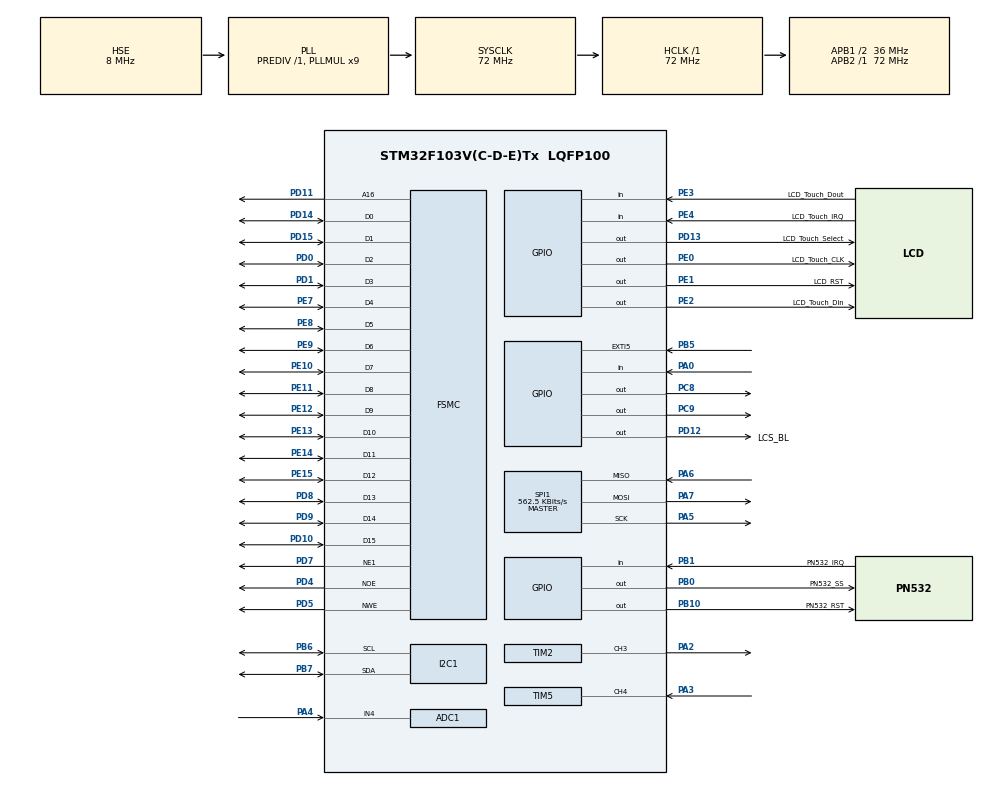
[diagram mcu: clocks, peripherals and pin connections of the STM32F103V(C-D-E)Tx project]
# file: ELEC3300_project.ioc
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ADC1.Channel-1\#ChannelRegularConversion=ADC_CHANNEL_4
ADC1.ContinuousConvMode=ENABLE
ADC1.NbrOfConversionFlag=1
ADC1.Rank-1\#ChannelRegularConversion=1
ADC1.SamplingTime-1\#ChannelRegularConversion=ADC_SAMPLETIME_1CYCLE_5
ADC1.master=1
I2C1.I2C_Mode=I2C_Fast
Mcu.Family=STM32F1
Mcu.Name=STM32F103V(C-D-E)Tx
Mcu.Package=LQFP100
NVIC.EXTI9_5_IRQn=true\:0\:0\:false\:false\:true\:true\:true\:true
NVIC.PriorityGroup=NVIC_PRIORITYGROUP_4
NVIC.SPI1_IRQn=true\:0\:0\:false\:false\:true\:true\:true\:true
NVIC.TIM2_IRQn=true\:0\:0\:false\:false\:true\:true\:true\:true
NVIC.TIM5_IRQn=true\:0\:0\:false\:false\:true\:true\:true\:true
OSC_IN.Mode=HSE-External-Oscillator
OSC_IN.Signal=RCC_OSC_IN
OSC_OUT.Mode=HSE-External-Oscillator
OSC_OUT.Signal=RCC_OSC_OUT
PA0-WKUP.GPIO_PuPd=GPIO_PULLUP
PA0-WKUP.Signal=GPIO_Input
PA13.Mode=Serial_Wire
PA13.Signal=SYS_JTMS-SWDIO
PA14.Mode=Serial_Wire
PA14.Signal=SYS_JTCK-SWCLK
PA2.Signal=S_TIM2_CH3
PA3.Signal=S_TIM5_CH4
PA4.Signal=ADCx_IN4
PA5.Mode=Full_Duplex_Master
PA5.Signal=SPI1_SCK
PA6.Mode=Full_Duplex_Master
PA6.Signal=SPI1_MISO
PA7.Mode=Full_Duplex_Master
PA7.Signal=SPI1_MOSI
PB0.GPIO_Label=PN532_SS
PB0.GPIO_PuPd=GPIO_PULLUP
PB0.GPIO_Speed=GPIO_SPEED_FREQ_LOW
PB0.Signal=GPIO_Output
PB1.GPIO_Label=PN532_IRQ
PB1.Signal=GPIO_Input
PB10.GPIO_Label=PN532_RST
PB10.GPIO_PuPd=GPIO_PULLUP
PB10.GPIO_Speed=GPIO_SPEED_FREQ_LOW
PB10.PinState=GPIO_PIN_SET
PB10.Signal=GPIO_Output
PB5.GPIO_ModeDefaultEXTI=GPIO_MODE_IT_FALLING
PB5.Signal=GPXTI5
PB6.Mode=I2C
PB6.Signal=I2C1_SCL
PB7.Mode=I2C
PB7.Signal=I2C1_SDA
PC14-OSC32_IN.Mode=LSE-External-Oscillator
PC14-OSC32_IN.Signal=RCC_OSC32_IN
PC15-OSC32_OUT.Mode=LSE-External-Oscillator
PC15-OSC32_OUT.Signal=RCC_OSC32_OUT
PC8.GPIO_PuPd=GPIO_PULLUP
PC8.GPIO_Speed=GPIO_SPEED_FREQ_HIGH
PC8.PinState=GPIO_PIN_SET
PC8.Signal=GPIO_Output
PC9.GPIO_PuPd=GPIO_PULLUP
PC9.GPIO_Speed=GPIO_SPEED_FREQ_HIGH
PC9.PinState=GPIO_PIN_SET
PC9.Signal=GPIO_Output
PD0.Mode=16b-d1
PD0.Signal=FSMC_D2
PD1.Mode=16b-d1
PD1.Signal=FSMC_D3
PD10.Mode=16b-d1
PD10.Signal=FSMC_D15
PD11.Mode=A16_1
PD11.Signal=FSMC_A16
PD12.GPIO_Label=LCS_BL
PD12.GPIO_Speed=GPIO_SPEED_FREQ_HIGH
PD12.Signal=GPIO_Output
PD13.GPIO_Label=LCD_Touch_Select
PD13.GPIO_Speed=GPIO_SPEED_FREQ_HIGH
PD13.PinState=GPIO_PIN_RESET
PD13.Signal=GPIO_Output
PD14.Mode=16b-d1
PD14.Signal=FSMC_D0
PD15.Mode=16b-d1
PD15.Signal=FSMC_D1
PD4.Mode=Lcd1
PD4.Signal=FSMC_NOE
PD5.Mode=Lcd1
PD5.Signal=FSMC_NWE
PD7.Mode=NorPsramChipSelect1_1
PD7.Signal=FSMC_NE1
PD8.Mode=16b-d1
PD8.Signal=FSMC_D13
PD9.Mode=16b-d1
PD9.Signal=FSMC_D14
PE0.GPIO_Label=LCD_Touch_CLK
PE0.GPIO_Speed=GPIO_SPEED_FREQ_HIGH
PE0.PinState=GPIO_PIN_SET
PE0.Signal=GPIO_Output
PE1.GPIO_Label=LCD_RST
PE1.GPIO_Speed=GPIO_SPEED_FREQ_HIGH
PE1.PinState=GPIO_PIN_RESET
PE1.Signal=GPIO_Output
PE10.Mode=16b-d1
PE10.Signal=FSMC_D7
PE11.Mode=16b-d1
PE11.Signal=FSMC_D8
PE12.Mode=16b-d1
PE12.Signal=FSMC_D9
PE13.Mode=16b-d1
PE13.Signal=FSMC_D10
PE14.Mode=16b-d1
PE14.Signal=FSMC_D11
PE15.Mode=16b-d1
PE15.Signal=FSMC_D12
PE2.GPIO_Label=LCD_Touch_Din
PE2.GPIO_Speed=GPIO_SPEED_FREQ_HIGH
PE2.Signal=GPIO_Output
PE3.GPIO_Label=LCD_Touch_Dout
PE3.GPIO_PuPd=GPIO_PULLUP
PE3.Signal=GPIO_Input
PE4.GPIO_Label=LCD_Touch_IRQ
PE4.GPIO_PuPd=GPIO_PULLUP
PE4.Signal=GPIO_Input
PE7.Mode=16b-d1
PE7.Signal=FSMC_D4
PE8.Mode=16b-d1
PE8.Signal=FSMC_D5
PE9.Mode=16b-d1
PE9.Signal=FSMC_D6
ProjectManager.HeapSize=0x200
ProjectManager.StackSize=0x400
ProjectManager.TargetToolchain=STM32CubeIDE
RCC.ADCPresc=RCC_ADCPCLK2_DIV6
RCC.AHBFreq_Value=72000000
RCC.APB1CLKDivider=RCC_HCLK_DIV2
RCC.APB1Freq_Value=36000000
RCC.APB1TimFreq_Value=72000000
RCC.APB2Freq_Value=72000000
RCC.APB2TimFreq_Value=72000000
RCC.HCLKFreq_Value=72000000
RCC.PLLMUL=RCC_PLL_MUL9
RCC.PLLSourceVirtual=RCC_PLLSOURCE_HSE
RCC.SYSCLKFreq_VALUE=72000000
RCC.SYSCLKSource=RCC_SYSCLKSOURCE_PLLCLK
RCC.USBFreq_Value=72000000
SH.ADCx_IN4.0=ADC1_IN4,IN4
SH.S_TIM2_CH3.0=TIM2_CH3,PWM Generation3 CH3
SH.S_TIM5_CH4.0=TIM5_CH4,Input_Capture4_from_TI4
SPI1.BaudRatePrescaler=SPI_BAUDRATEPRESCALER_128
SPI1.CalculateBaudRate=562.5 KBits/s
SPI1.Direction=SPI_DIRECTION_2LINES
SPI1.FirstBit=SPI_FIRSTBIT_LSB
SPI1.Mode=SPI_MODE_MASTER
SPI1.VirtualType=VM_MASTER
TIM1.Prescaler=71
TIM2.Channel-PWM\ Generation3\ CH3=TIM_CHANNEL_3
TIM2.Period=1895
TIM2.Pulse-PWM\ Generation3\ CH3=947
TIM5.Channel-Input_Capture4_from_TI4=TIM_CHANNEL_4
TIM5.Prescaler=71
VP_TIM1_VS_ClockSourceINT.Mode=Internal
board=custom

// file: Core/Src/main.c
/* USER CODE BEGIN Header */
/**
  ******************************************************************************
  * @file           : main.c
  * @brief          : Main program body
  ******************************************************************************
  * @attention
  *
  * Copyright (c) 2023 STMicroelectronics.
  * All rights reserved.
  *
  * This software is licensed under terms that can be found in the LICENSE file
  * in the root directory of this software component.
  * If no LICENSE file comes with this software, it is provided AS-IS.
  *
  ******************************************************************************
  */
/*
 * pin setup
 * light resistor
 * IR receiver PA3
 * IR transmitter PA2
 * LED PC8 PC9
 * */

/* USER CODE END Header */
#include "main.h"

/* USER CODE BEGIN Includes */
#include "lcd.h"
#include "bsp_xpt2046_lcd.h"
#include "pn532_stm32f1.h"
#include <string.h>
#include <stdio.h>
/* USER CODE END Includes */

/* USER CODE BEGIN PD */
#define use_HEXADECIMAL
/* USER CODE END PD */

ADC_HandleTypeDef hadc1;

I2C_HandleTypeDef hi2c1;

SPI_HandleTypeDef hspi1;

TIM_HandleTypeDef htim1;
TIM_HandleTypeDef htim2;
TIM_HandleTypeDef htim5;

SRAM_HandleTypeDef hsram1;

/* USER CODE BEGIN PV */

char receiveCode[10];
uint32_t send_Code = 0;
uint32_t receive_Code = 0;
uint8_t receive[33] = {0};
uint8_t receive_Flag = 0;
uint32_t pwm_low_level_time;
uint32_t pwm_high_level_time;
uint8_t button1 = 0;
uint8_t button2 = 0;
uint8_t light_dark_mode = 0;
int tim_mode_raise_or_falling = 0;
int Index = 0;
int ok = 0,ok2=0;
int datawp[35] = {0};
int x, y;
char strx[5];
char stry[5];
uint8_t buff[255];
uint8_t uid[MIFARE_UID_MAX_LENGTH];
int32_t uid_len = 0;
PN532 pn532;
uint8_t key_a[] = {0xFF, 0xFF, 0xFF, 0xFF, 0xFF, 0xFF};
uint32_t pn532_error = PN532_ERROR_NONE;
uint8_t power = 0;
uint8_t open = 0;
uint8_t user = 0;
uint8_t user_change = 0;

//uncomment this block to flash code for device
#define DEVICE 1
#define REMOTE 0

//uncomment this block to flash code for remote
//#define DEVICE 0
//#define REMOTE 1

//display mode
#define LIGHT 0
#define DARK 1

//buttons
#define BUTTON1 0x01
#define BUTTON2 0x02
#define BUTTON3 0x03
#define BUTTON4 0x04
#define POWER 0x69
#define ADDRESS 0x11

//user
#define NOUSER 0
#define JONATHAN 1
#define CHRIS 2

#define DLY_TIM_Handle (&htim1)//定时器延时微妙级函数
void HAL_Delay_us(uint16_t nus)
{
	__HAL_TIM_SET_COUNTER(DLY_TIM_Handle, 0);
	__HAL_TIM_ENABLE(DLY_TIM_Handle);
	while (__HAL_TIM_GET_COUNTER(DLY_TIM_Handle) < nus)
	{
	}
	__HAL_TIM_DISABLE(DLY_TIM_Handle);
}
/* USER CODE END PV */

void SystemClock_Config(void);
static void MX_GPIO_Init(void);
static void MX_FSMC_Init(void);
static void MX_I2C1_Init(void);
static void MX_TIM1_Init(void);
static void MX_TIM2_Init(void);
static void MX_SPI1_Init(void);
static void MX_TIM5_Init(void);
static void MX_ADC1_Init(void);

/* USER CODE BEGIN 0 */

// IR sender function
void IR_send(uint8_t addr, uint8_t data)
{
	uint8_t iaddr = ~addr;

	uint8_t idata = ~data;
	char sendCode[10];
	send_Code = addr<<24 | iaddr<<16 | data<<8 | idata;

	HAL_TIM_PWM_Start(&htim2,TIM_CHANNEL_3);
	HAL_Delay_us(9000);
	HAL_TIM_PWM_Stop(&htim2,TIM_CHANNEL_3);
	HAL_Delay_us(4500);
	for(int i=31;i>=0;i--){
		HAL_TIM_PWM_Start(&htim2,TIM_CHANNEL_3);
		HAL_Delay_us(560);
		HAL_TIM_PWM_Stop(&htim2,TIM_CHANNEL_3);
		if((send_Code>>i) & 0x01)
			HAL_Delay_us(1690);
		else
			HAL_Delay_us(560);
	}
	HAL_TIM_PWM_Start(&htim2,TIM_CHANNEL_3);
	HAL_Delay_us(560);
	HAL_TIM_PWM_Stop(&htim2,TIM_CHANNEL_3);
}

//print remote screen function
void PrintRemote()
{
	LCD_OpenWindow(40, 20, 160, 60);
	LCD_FillColor(160*60, RED);
	LCD_DrawString(100, 30, "Power", WHITE, RED);

	LCD_OpenWindow(10, 100, 100, 100);
	LCD_FillColor(100*100, BLACK);
	LCD_DrawString(30, 150, "button1", WHITE, BLACK);

	LCD_OpenWindow(130, 100, 100, 100);
	LCD_FillColor(100*100, BLACK);
	LCD_DrawString(152, 150, "button2", WHITE, BLACK);

	LCD_OpenWindow(10, 210, 100, 100);
	LCD_FillColor(100*100, BLACK);
	LCD_DrawString(30, 260, "button3", WHITE, BLACK);

	LCD_OpenWindow(130, 210, 100, 100);
	LCD_FillColor(100*100, BLACK);
	LCD_DrawString(152, 260, "button4", WHITE, BLACK);
}

// print light mode device menu function
void PrintDevice_light(uint8_t user, uint8_t button1, uint8_t button2)
{
	LCD_Clear(0,0,240,320,WHITE);
	LCD_DrawString(75, 0, "Device Mode", BLACK, WHITE);

	if(user == JONATHAN)
	{
		LCD_DrawString(50, 20, "Welcome! Jonathan!", BLACK, WHITE);
	}
	else if(user == CHRIS)
	{
		LCD_DrawString(60, 20, "Welcome! Chris!", BLACK, WHITE);
	}
	else
	{
		LCD_DrawString(60, 20, "Device Locked", BLACK, WHITE);
	}

	if(button1)
	{
		LCD_DrawString(50, 45, "ON", BLACK, WHITE);
		LCD_OpenWindow(15, 60, 100, 250);
		LCD_FillColor(100*250, GREEN);
	}
	else
	{
		LCD_DrawString(50, 45, "OFF", BLACK, WHITE);
		LCD_OpenWindow(15, 60, 100, 250);
		LCD_FillColor(100*250, RED);
	}
	if(button2)
	{
		LCD_DrawString(165, 45, "ON", BLACK, WHITE);
		LCD_OpenWindow(125, 60, 100, 250);
		LCD_FillColor(100*250, GREEN);
	}
	else
	{
		LCD_DrawString(165, 45, "OFF", BLACK, WHITE);
		LCD_OpenWindow(125, 60, 100, 250);
		LCD_FillColor(100*250, RED);
	}
}

//print dark mode device menu function
void PrintDevice_dark(uint8_t user, uint8_t button1, uint8_t button2)
{
	LCD_Clear(0,0,240,320,BLACK);
	LCD_DrawString(75, 0, "Device Mode", WHITE, BLACK);

	if(user == JONATHAN)
	{
		LCD_DrawString(50, 20, "Welcome! Jonathan!", WHITE, BLACK);
	}
	else if(user == CHRIS)
	{
		LCD_DrawString(60, 20, "Welcome! Chris!", WHITE, BLACK);
	}
	else
	{
		LCD_DrawString(60, 20, "Device Locked", WHITE, BLACK);
	}

	if(button1)
	{
		LCD_DrawString(50, 45, "ON", WHITE, BLACK);
		LCD_OpenWindow(15, 60, 100, 250);
		LCD_FillColor(100*250, GREEN);
	}
	else
	{
		LCD_DrawString(50, 45, "OFF", WHITE, BLACK);
		LCD_OpenWindow(15, 60, 100, 250);
		LCD_FillColor(100*250, RED);
	}
	if(button2)
	{
		LCD_DrawString(165, 45, "ON", WHITE, BLACK);
		LCD_OpenWindow(125, 60, 100, 250);
		LCD_FillColor(100*250, GREEN);
	}
	else
	{
		LCD_DrawString(165, 45, "OFF", WHITE, BLACK);
		LCD_OpenWindow(125, 60, 100, 250);
		LCD_FillColor(100*250, RED);
	}
}

//IR receiver data decryption
void Find_Data(uint32_t *code)
{
	*code = *code & 0x0000ff00;
	*code = *code >> 8;
}

//toggle device button one display function
void Update_Button1()
{
	if(button1)
	{
		Button1_Off();
	}
	else
	{
		Button1_On();
	}
}

//toggle device button two display function
void Update_Button2()
{
	if(button2)
	{
		Button2_Off();
	}
	else
	{
		Button2_On();
	}
}

//turn on button one function
void Button1_On()
{
	button1 = 1;
	LCD_Clear(50, 45, 25, 15, WHITE);
	if(light_dark_mode == DARK)
		LCD_DrawString(50, 45, "ON  ", WHITE, BLACK);
	else
		LCD_DrawString(50, 45, "ON  ", BLACK, WHITE);
	LCD_OpenWindow(15, 60, 100, 250);
	LCD_FillColor(100*250, GREEN);
	HAL_GPIO_WritePin(GPIOC, GPIO_PIN_8, GPIO_PIN_SET);
}

//turn on button two function
void Button2_On()
{
	button2 = 1;
	LCD_Clear(165, 45,25, 15, WHITE);
	if(light_dark_mode == DARK)
		LCD_DrawString(165, 45, "ON  ", WHITE, BLACK);
	else
		LCD_DrawString(165, 45, "ON  ", BLACK, WHITE);
	LCD_OpenWindow(125, 60, 100, 250);
	LCD_FillColor(100*250, GREEN);
	HAL_GPIO_WritePin(GPIOC, GPIO_PIN_9, GPIO_PIN_SET);
}

//turn off button one function
void Button1_Off()
{
	button1 = 0;
	LCD_Clear(50, 45, 25, 15, WHITE);
	if(light_dark_mode == DARK)
		LCD_DrawString(50, 45, "OFF ", WHITE, BLACK);
	else
		LCD_DrawString(50, 45, "OFF ", BLACK, WHITE);
	LCD_OpenWindow(15, 60, 100, 250);
	LCD_FillColor(100*250, RED);
	HAL_GPIO_WritePin(GPIOC, GPIO_PIN_8, GPIO_PIN_RESET);
}

//turn off button two function
void Button2_Off()
{
	button2 = 0;
	LCD_Clear(165, 45,25, 15, WHITE);
	if(light_dark_mode == DARK)
		LCD_DrawString(165, 45, "OFF ", WHITE, BLACK);
	else
		LCD_DrawString(165, 45, "OFF ", BLACK, WHITE);
	LCD_OpenWindow(125, 60, 100, 250);
	LCD_FillColor(100*250, RED);
	HAL_GPIO_WritePin(GPIOC, GPIO_PIN_9, GPIO_PIN_RESET);
}
/* USER CODE END 0 */

int main(void)
{

  /* MCU Configuration--------------------------------------------------------*/

  /* Reset of all peripherals, Initializes the Flash interface and the Systick. */
  HAL_Init();

  /* Configure the system clock */
  SystemClock_Config();

  /* Initialize all configured peripherals */
  MX_GPIO_Init();
  MX_FSMC_Init();
  MX_I2C1_Init();
  MX_TIM1_Init();
  MX_TIM2_Init();
  MX_SPI1_Init();
  MX_TIM5_Init();
  MX_ADC1_Init();
  /* USER CODE BEGIN 2 */
  LCD_INIT();
  HAL_TIM_Base_Start(&htim1);
  HAL_TIM_Base_Start(&htim2);
  HAL_TIM_Base_Start(&htim5);
  __HAL_TIM_SET_COUNTER(&htim1, 0);
  GPIO_PinState prevButtonState = GPIO_PIN_RESET;
  HAL_TIM_IC_Start_IT(&htim5, TIM_CHANNEL_4);
  HAL_GPIO_WritePin(GPIOC, GPIO_PIN_8, GPIO_PIN_RESET);
  HAL_GPIO_WritePin(GPIOC, GPIO_PIN_9, GPIO_PIN_RESET);
  PN532_SPI_Init(&pn532);
  PN532_SamConfiguration(&pn532);
  HAL_ADC_Start(&hadc1);
  TIM_SET_CAPTUREPOLARITY(&htim5,TIM_CHANNEL_4,TIM_ICPOLARITY_FALLING);
  TIM2->ARR = 1893;
  TIM2->CCR2 = TIM2->ARR/2;
  char stage[10] = "menu";
  if(DEVICE)
	  PrintDevice_light(0,0,0);
  else
	  PrintRemote();
  /* USER CODE END 2 */

  /* Infinite loop */
  while (1)
  {

    /* USER CODE BEGIN 3 */

	  	//light sensor

	  if(REMOTE)
	  {
			XPT2046_TouchEvenHandler(&stage, &x, &y);
			if((x>40&&x<185)&&(y>40&&y<85))
			{
				IR_send(ADDRESS, POWER);
			}
			if((x>10&&x<105)&&(y>115&&y<200))
			{
				IR_send(ADDRESS, BUTTON1);
			}
			if((x>125&&x<230)&&(y>115&&y<200))
			{
				IR_send(ADDRESS, BUTTON2);
			}
			if((x>10&&x<105)&&(y>215&&y<300))
			{
				IR_send(ADDRESS, BUTTON3);
			}
			if((x>125&&x<230)&&(y>215&&y<300))
			{
				IR_send(ADDRESS, BUTTON4);
			}
			x=0;y=0;
	  }

	  if(DEVICE)
	  {
		  if(HAL_ADC_PollForConversion(&hadc1, 1000) == HAL_OK)
		  {
			  int ADCValue1 = HAL_ADC_GetValue(&hadc1);
			  if(ADCValue1 < 3750)
			  {
				  if(!open)
					  PrintDevice_light(user, button1, button2);
				  open = 1;
				  light_dark_mode = LIGHT;
			  }
			  else
			  {
				  if(open)
					  PrintDevice_dark(user, button1, button2);
				  open = 0;
				  light_dark_mode = DARK;
			  }
		  }
		  if(user_change == 1)
		  {
			  if(light_dark_mode == LIGHT)
				  LCD_Clear(50, 20, 160, 20, WHITE);
			  else
				  LCD_Clear(50, 20, 160, 20, BLACK);
			  if(user == CHRIS)
			  {
				  if(light_dark_mode == LIGHT)
					  LCD_DrawString(60, 20, "Welcome! Chris!", BLACK, WHITE);
				  else
					  LCD_DrawString(60, 20, "Welcome! Chris!", WHITE, BLACK);
			  }
			  else if(user == JONATHAN)
			  {
				  if(light_dark_mode == LIGHT)
					  LCD_DrawString(60, 20, "Welcome! Jonathan!", BLACK, WHITE);
				  else
					  LCD_DrawString(60, 20, "Welcome! Jonathan!", WHITE, BLACK);
			  }
			  else if(user == NOUSER)
			  {
				  if(light_dark_mode == LIGHT)
					  LCD_DrawString(60, 20, "Device locked", BLACK, WHITE);
				  else
					  LCD_DrawString(60, 20, "Device locked", WHITE, BLACK);
			  }
			  user_change = 0;
		  }
		  if(user == NOUSER)
		  {
			  memset(uid, 0, sizeof(uid));
			  uid_len = PN532_ReadPassiveTarget(&pn532, uid, PN532_MIFARE_ISO14443A, 1000);
			  HAL_Delay(1000);
		  }
		  XPT2046_TouchEvenHandler(&stage, &x, &y);
		  if(uid[0] == 19 && uid[1] == 2 && uid[2] == 48 && uid[3] == 37)
		  {
			  user = JONATHAN;
			  user_change = 1;
			  memset(uid, 0, sizeof(uid));
		  }
		  if(uid[0] == 67 && uid[1] == 79 && uid[2] == 229 && uid[3] == 247)
		  {
			  user = CHRIS;
			  user_change = 1;
			  memset(uid, 0, sizeof(uid));
		  }
		  if(user == NOUSER)
			  continue;

		  if((x>10&&x<105)&&(y>115&&y<300))
		  {
			  Update_Button1();
		  }
		  if((x>125&&x<230)&&(y>115&&y<300))
		  {
			  Update_Button2();
		  }
			if(receive_Flag)
				{
					Find_Data(&receive_Code);
					switch(receive_Code)
					{
						case BUTTON1:
							Update_Button1();
							receive_Flag = 0;
							break;
						case BUTTON2:
							Update_Button2();
							receive_Flag = 0;
							break;
						case BUTTON3:
							Button1_Off();
							Button2_Off();
							receive_Flag = 0;
							break;
						case BUTTON4:
							Button1_On();
							Button2_On();
							receive_Flag = 0;
							break;
						case POWER:
							if(user != 0)
							{
								user = NOUSER;
							}
							receive_Flag = 0;
							user_change = 1;
							break;
					}
					receive_Flag = 0;
				}
			x=0;y=0;
	  }
  }
  /* USER CODE END 3 */
}

void SystemClock_Config(void)
{
  RCC_OscInitTypeDef RCC_OscInitStruct = {0};
  RCC_ClkInitTypeDef RCC_ClkInitStruct = {0};
  RCC_PeriphCLKInitTypeDef PeriphClkInit = {0};

  /** Initializes the RCC Oscillators according to the specified parameters
  * in the RCC_OscInitTypeDef structure.
  */
  RCC_OscInitStruct.OscillatorType = RCC_OSCILLATORTYPE_LSI|RCC_OSCILLATORTYPE_HSE;
  RCC_OscInitStruct.HSEState = RCC_HSE_ON;
  RCC_OscInitStruct.HSEPredivValue = RCC_HSE_PREDIV_DIV1;
  RCC_OscInitStruct.HSIState = RCC_HSI_ON;
  RCC_OscInitStruct.LSIState = RCC_LSI_ON;
  RCC_OscInitStruct.PLL.PLLState = RCC_PLL_ON;
  RCC_OscInitStruct.PLL.PLLSource = RCC_PLLSOURCE_HSE;
  RCC_OscInitStruct.PLL.PLLMUL = RCC_PLL_MUL9;
  if (HAL_RCC_OscConfig(&RCC_OscInitStruct) != HAL_OK)
  {
    Error_Handler();
  }

  /** Initializes the CPU, AHB and APB buses clocks
  */
  RCC_ClkInitStruct.ClockType = RCC_CLOCKTYPE_HCLK|RCC_CLOCKTYPE_SYSCLK
                              |RCC_CLOCKTYPE_PCLK1|RCC_CLOCKTYPE_PCLK2;
  RCC_ClkInitStruct.SYSCLKSource = RCC_SYSCLKSOURCE_PLLCLK;
  RCC_ClkInitStruct.AHBCLKDivider = RCC_SYSCLK_DIV1;
  RCC_ClkInitStruct.APB1CLKDivider = RCC_HCLK_DIV2;
  RCC_ClkInitStruct.APB2CLKDivider = RCC_HCLK_DIV1;

  if (HAL_RCC_ClockConfig(&RCC_ClkInitStruct, FLASH_LATENCY_2) != HAL_OK)
  {
    Error_Handler();
  }
  PeriphClkInit.PeriphClockSelection = RCC_PERIPHCLK_ADC;
  PeriphClkInit.AdcClockSelection = RCC_ADCPCLK2_DIV6;
  if (HAL_RCCEx_PeriphCLKConfig(&PeriphClkInit) != HAL_OK)
  {
    Error_Handler();
  }
}

static void MX_ADC1_Init(void)
{

  ADC_ChannelConfTypeDef sConfig = {0};

  /** Common config
  */
  hadc1.Instance = ADC1;
  hadc1.Init.ScanConvMode = ADC_SCAN_DISABLE;
  hadc1.Init.ContinuousConvMode = ENABLE;
  hadc1.Init.DiscontinuousConvMode = DISABLE;
  hadc1.Init.ExternalTrigConv = ADC_SOFTWARE_START;
  hadc1.Init.DataAlign = ADC_DATAALIGN_RIGHT;
  hadc1.Init.NbrOfConversion = 1;
  if (HAL_ADC_Init(&hadc1) != HAL_OK)
  {
    Error_Handler();
  }

  /** Configure Regular Channel
  */
  sConfig.Channel = ADC_CHANNEL_4;
  sConfig.Rank = ADC_REGULAR_RANK_1;
  sConfig.SamplingTime = ADC_SAMPLETIME_1CYCLE_5;
  if (HAL_ADC_ConfigChannel(&hadc1, &sConfig) != HAL_OK)
  {
    Error_Handler();
  }

}

static void MX_I2C1_Init(void)
{

  hi2c1.Instance = I2C1;
  hi2c1.Init.ClockSpeed = 400000;
  hi2c1.Init.DutyCycle = I2C_DUTYCYCLE_2;
  hi2c1.Init.OwnAddress1 = 0;
  hi2c1.Init.AddressingMode = I2C_ADDRESSINGMODE_7BIT;
  hi2c1.Init.DualAddressMode = I2C_DUALADDRESS_DISABLE;
  hi2c1.Init.OwnAddress2 = 0;
  hi2c1.Init.GeneralCallMode = I2C_GENERALCALL_DISABLE;
  hi2c1.Init.NoStretchMode = I2C_NOSTRETCH_DISABLE;
  if (HAL_I2C_Init(&hi2c1) != HAL_OK)
  {
    Error_Handler();
  }

}

static void MX_SPI1_Init(void)
{

  /* SPI1 parameter configuration*/
  hspi1.Instance = SPI1;
  hspi1.Init.Mode = SPI_MODE_MASTER;
  hspi1.Init.Direction = SPI_DIRECTION_2LINES;
  hspi1.Init.DataSize = SPI_DATASIZE_8BIT;
  hspi1.Init.CLKPolarity = SPI_POLARITY_LOW;
  hspi1.Init.CLKPhase = SPI_PHASE_1EDGE;
  hspi1.Init.NSS = SPI_NSS_SOFT;
  hspi1.Init.BaudRatePrescaler = SPI_BAUDRATEPRESCALER_128;
  hspi1.Init.FirstBit = SPI_FIRSTBIT_LSB;
  hspi1.Init.TIMode = SPI_TIMODE_DISABLE;
  hspi1.Init.CRCCalculation = SPI_CRCCALCULATION_DISABLE;
  hspi1.Init.CRCPolynomial = 10;
  if (HAL_SPI_Init(&hspi1) != HAL_OK)
  {
    Error_Handler();
  }

}

static void MX_TIM1_Init(void)
{

  TIM_ClockConfigTypeDef sClockSourceConfig = {0};
  TIM_MasterConfigTypeDef sMasterConfig = {0};

  htim1.Instance = TIM1;
  htim1.Init.Prescaler = 71;
  htim1.Init.CounterMode = TIM_COUNTERMODE_UP;
  htim1.Init.Period = 65535;
  htim1.Init.ClockDivision = TIM_CLOCKDIVISION_DIV1;
  htim1.Init.RepetitionCounter = 0;
  htim1.Init.AutoReloadPreload = TIM_AUTORELOAD_PRELOAD_DISABLE;
  if (HAL_TIM_Base_Init(&htim1) != HAL_OK)
  {
    Error_Handler();
  }
  sClockSourceConfig.ClockSource = TIM_CLOCKSOURCE_INTERNAL;
  if (HAL_TIM_ConfigClockSource(&htim1, &sClockSourceConfig) != HAL_OK)
  {
    Error_Handler();
  }
  sMasterConfig.MasterOutputTrigger = TIM_TRGO_RESET;
  sMasterConfig.MasterSlaveMode = TIM_MASTERSLAVEMODE_DISABLE;
  if (HAL_TIMEx_MasterConfigSynchronization(&htim1, &sMasterConfig) != HAL_OK)
  {
    Error_Handler();
  }

}

static void MX_TIM2_Init(void)
{

  TIM_MasterConfigTypeDef sMasterConfig = {0};
  TIM_OC_InitTypeDef sConfigOC = {0};

  htim2.Instance = TIM2;
  htim2.Init.Prescaler = 0;
  htim2.Init.CounterMode = TIM_COUNTERMODE_UP;
  htim2.Init.Period = 1895;
  htim2.Init.ClockDivision = TIM_CLOCKDIVISION_DIV1;
  htim2.Init.AutoReloadPreload = TIM_AUTORELOAD_PRELOAD_DISABLE;
  if (HAL_TIM_PWM_Init(&htim2) != HAL_OK)
  {
    Error_Handler();
  }
  sMasterConfig.MasterOutputTrigger = TIM_TRGO_RESET;
  sMasterConfig.MasterSlaveMode = TIM_MASTERSLAVEMODE_DISABLE;
  if (HAL_TIMEx_MasterConfigSynchronization(&htim2, &sMasterConfig) != HAL_OK)
  {
    Error_Handler();
  }
  sConfigOC.OCMode = TIM_OCMODE_PWM1;
  sConfigOC.Pulse = 947;
  sConfigOC.OCPolarity = TIM_OCPOLARITY_HIGH;
  sConfigOC.OCFastMode = TIM_OCFAST_DISABLE;
  if (HAL_TIM_PWM_ConfigChannel(&htim2, &sConfigOC, TIM_CHANNEL_3) != HAL_OK)
  {
    Error_Handler();
  }
  HAL_TIM_MspPostInit(&htim2);

}

static void MX_TIM5_Init(void)
{

  TIM_MasterConfigTypeDef sMasterConfig = {0};
  TIM_IC_InitTypeDef sConfigIC = {0};

  htim5.Instance = TIM5;
  htim5.Init.Prescaler = 71;
  htim5.Init.CounterMode = TIM_COUNTERMODE_UP;
  htim5.Init.Period = 65535;
  htim5.Init.ClockDivision = TIM_CLOCKDIVISION_DIV1;
  htim5.Init.AutoReloadPreload = TIM_AUTORELOAD_PRELOAD_DISABLE;
  if (HAL_TIM_IC_Init(&htim5) != HAL_OK)
  {
    Error_Handler();
  }
  sMasterConfig.MasterOutputTrigger = TIM_TRGO_RESET;
  sMasterConfig.MasterSlaveMode = TIM_MASTERSLAVEMODE_DISABLE;
  if (HAL_TIMEx_MasterConfigSynchronization(&htim5, &sMasterConfig) != HAL_OK)
  {
    Error_Handler();
  }
  sConfigIC.ICPolarity = TIM_INPUTCHANNELPOLARITY_RISING;
  sConfigIC.ICSelection = TIM_ICSELECTION_DIRECTTI;
  sConfigIC.ICPrescaler = TIM_ICPSC_DIV1;
  sConfigIC.ICFilter = 0;
  if (HAL_TIM_IC_ConfigChannel(&htim5, &sConfigIC, TIM_CHANNEL_4) != HAL_OK)
  {
    Error_Handler();
  }

}

static void MX_GPIO_Init(void)
{
  GPIO_InitTypeDef GPIO_InitStruct = {0};

  /* GPIO Ports Clock Enable */
  __HAL_RCC_GPIOE_CLK_ENABLE();
  __HAL_RCC_GPIOC_CLK_ENABLE();
  __HAL_RCC_GPIOA_CLK_ENABLE();
  __HAL_RCC_GPIOB_CLK_ENABLE();
  __HAL_RCC_GPIOD_CLK_ENABLE();

  /*Configure GPIO pin Output Level */
  HAL_GPIO_WritePin(GPIOE, LCD_Touch_Din_Pin|LCD_RST_Pin, GPIO_PIN_RESET);

  /*Configure GPIO pin Output Level */
  HAL_GPIO_WritePin(PN532_SS_GPIO_Port, PN532_SS_Pin, GPIO_PIN_RESET);

  /*Configure GPIO pin Output Level */
  HAL_GPIO_WritePin(PN532_RST_GPIO_Port, PN532_RST_Pin, GPIO_PIN_SET);

  /*Configure GPIO pin Output Level */
  HAL_GPIO_WritePin(GPIOD, LCS_BL_Pin|LCD_Touch_Select_Pin, GPIO_PIN_RESET);

  /*Configure GPIO pin Output Level */
  HAL_GPIO_WritePin(GPIOC, GPIO_PIN_8|GPIO_PIN_9, GPIO_PIN_SET);

  /*Configure GPIO pin Output Level */
  HAL_GPIO_WritePin(LCD_Touch_CLK_GPIO_Port, LCD_Touch_CLK_Pin, GPIO_PIN_SET);

  /*Configure GPIO pins : LCD_Touch_Din_Pin LCD_Touch_CLK_Pin LCD_RST_Pin */
  GPIO_InitStruct.Pin = LCD_Touch_Din_Pin|LCD_Touch_CLK_Pin|LCD_RST_Pin;
  GPIO_InitStruct.Mode = GPIO_MODE_OUTPUT_PP;
  GPIO_InitStruct.Pull = GPIO_NOPULL;
  GPIO_InitStruct.Speed = GPIO_SPEED_FREQ_HIGH;
  HAL_GPIO_Init(GPIOE, &GPIO_InitStruct);

  /*Configure GPIO pins : LCD_Touch_Dout_Pin LCD_Touch_IRQ_Pin */
  GPIO_InitStruct.Pin = LCD_Touch_Dout_Pin|LCD_Touch_IRQ_Pin;
  GPIO_InitStruct.Mode = GPIO_MODE_INPUT;
  GPIO_InitStruct.Pull = GPIO_PULLUP;
  HAL_GPIO_Init(GPIOE, &GPIO_InitStruct);

  /*Configure GPIO pin : PA0 */
  GPIO_InitStruct.Pin = GPIO_PIN_0;
  GPIO_InitStruct.Mode = GPIO_MODE_INPUT;
  GPIO_InitStruct.Pull = GPIO_PULLUP;
  HAL_GPIO_Init(GPIOA, &GPIO_InitStruct);

  /*Configure GPIO pins : PN532_SS_Pin PN532_RST_Pin */
  GPIO_InitStruct.Pin = PN532_SS_Pin|PN532_RST_Pin;
  GPIO_InitStruct.Mode = GPIO_MODE_OUTPUT_PP;
  GPIO_InitStruct.Pull = GPIO_PULLUP;
  GPIO_InitStruct.Speed = GPIO_SPEED_FREQ_LOW;
  HAL_GPIO_Init(GPIOB, &GPIO_InitStruct);

  /*Configure GPIO pin : PN532_IRQ_Pin */
  GPIO_InitStruct.Pin = PN532_IRQ_Pin;
  GPIO_InitStruct.Mode = GPIO_MODE_INPUT;
  GPIO_InitStruct.Pull = GPIO_NOPULL;
  HAL_GPIO_Init(PN532_IRQ_GPIO_Port, &GPIO_InitStruct);

  /*Configure GPIO pins : LCS_BL_Pin LCD_Touch_Select_Pin */
  GPIO_InitStruct.Pin = LCS_BL_Pin|LCD_Touch_Select_Pin;
  GPIO_InitStruct.Mode = GPIO_MODE_OUTPUT_PP;
  GPIO_InitStruct.Pull = GPIO_NOPULL;
  GPIO_InitStruct.Speed = GPIO_SPEED_FREQ_HIGH;
  HAL_GPIO_Init(GPIOD, &GPIO_InitStruct);

  /*Configure GPIO pins : PC8 PC9 */
  GPIO_InitStruct.Pin = GPIO_PIN_8|GPIO_PIN_9;
  GPIO_InitStruct.Mode = GPIO_MODE_OUTPUT_PP;
  GPIO_InitStruct.Pull = GPIO_PULLUP;
  GPIO_InitStruct.Speed = GPIO_SPEED_FREQ_HIGH;
  HAL_GPIO_Init(GPIOC, &GPIO_InitStruct);

  /*Configure GPIO pin : PB5 */
  GPIO_InitStruct.Pin = GPIO_PIN_5;
  GPIO_InitStruct.Mode = GPIO_MODE_IT_FALLING;
  GPIO_InitStruct.Pull = GPIO_NOPULL;
  HAL_GPIO_Init(GPIOB, &GPIO_InitStruct);

  /* EXTI interrupt init*/
  HAL_NVIC_SetPriority(EXTI9_5_IRQn, 0, 0);
  HAL_NVIC_EnableIRQ(EXTI9_5_IRQn);

}

/* FSMC initialization function */
static void MX_FSMC_Init(void)
{

  FSMC_NORSRAM_TimingTypeDef Timing = {0};

  /** Perform the SRAM1 memory initialization sequence
  */
  hsram1.Instance = FSMC_NORSRAM_DEVICE;
  hsram1.Extended = FSMC_NORSRAM_EXTENDED_DEVICE;
  /* hsram1.Init */
  hsram1.Init.NSBank = FSMC_NORSRAM_BANK1;
  hsram1.Init.DataAddressMux = FSMC_DATA_ADDRESS_MUX_DISABLE;
  hsram1.Init.MemoryType = FSMC_MEMORY_TYPE_SRAM;
  hsram1.Init.MemoryDataWidth = FSMC_NORSRAM_MEM_BUS_WIDTH_16;
  hsram1.Init.BurstAccessMode = FSMC_BURST_ACCESS_MODE_DISABLE;
  hsram1.Init.WaitSignalPolarity = FSMC_WAIT_SIGNAL_POLARITY_LOW;
  hsram1.Init.WrapMode = FSMC_WRAP_MODE_DISABLE;
  hsram1.Init.WaitSignalActive = FSMC_WAIT_TIMING_BEFORE_WS;
  hsram1.Init.WriteOperation = FSMC_WRITE_OPERATION_ENABLE;
  hsram1.Init.WaitSignal = FSMC_WAIT_SIGNAL_DISABLE;
  hsram1.Init.ExtendedMode = FSMC_EXTENDED_MODE_DISABLE;
  hsram1.Init.AsynchronousWait = FSMC_ASYNCHRONOUS_WAIT_DISABLE;
  hsram1.Init.WriteBurst = FSMC_WRITE_BURST_DISABLE;
  /* Timing */
  Timing.AddressSetupTime = 15;
  Timing.AddressHoldTime = 15;
  Timing.DataSetupTime = 255;
  Timing.BusTurnAroundDuration = 15;
  Timing.CLKDivision = 16;
  Timing.DataLatency = 17;
  Timing.AccessMode = FSMC_ACCESS_MODE_A;
  /* ExtTiming */

  if (HAL_SRAM_Init(&hsram1, &Timing, NULL) != HAL_OK)
  {
    Error_Handler( );
  }

  /** Disconnect NADV
  */

  __HAL_AFIO_FSMCNADV_DISCONNECTED();

}

/* USER CODE BEGIN 4 */

void HAL_TIM_IC_CaptureCallback(TIM_HandleTypeDef *htim)
{
	if(tim_mode_raise_or_falling == 0)
  {
    pwm_low_level_time = HAL_TIM_ReadCapturedValue(&htim5,TIM_CHANNEL_4) + 1;
    __HAL_TIM_SET_COUNTER(&htim5,0);
    TIM_RESET_CAPTUREPOLARITY(&htim5, TIM_CHANNEL_4);
    TIM_SET_CAPTUREPOLARITY(&htim5,TIM_CHANNEL_4,TIM_ICPOLARITY_FALLING);
    tim_mode_raise_or_falling = 1;
		ok2 = 0;
  }
  else if(tim_mode_raise_or_falling == 1)
  {
    pwm_high_level_time = HAL_TIM_ReadCapturedValue(&htim5,TIM_CHANNEL_4) + 1;
    __HAL_TIM_SET_COUNTER(&htim5,0);
    TIM_RESET_CAPTUREPOLARITY(&htim5, TIM_CHANNEL_4);
    TIM_SET_CAPTUREPOLARITY(&htim5,TIM_CHANNEL_4,TIM_ICPOLARITY_RISING);
    tim_mode_raise_or_falling = 0;
		ok2 = 1;
  }
	uint8_t Data=0;
	if(pwm_high_level_time >= 5000){
		Index=0;ok = 0;
	}
	else if(pwm_high_level_time >= 3500 && pwm_high_level_time < 5000){
		Index=0;ok = 1;
	}
	else if(pwm_high_level_time >= 1000 && pwm_high_level_time < 2000){
		Data=1;		//收到数据1
	}
	else if(pwm_high_level_time > 0 && pwm_high_level_time < 1000){
		Data=0;		//收到数据0
	}

	if(ok == 1 && ok2 == 1){
		receive_Code <<= 1;
		receive_Code += Data;
		receive[Index] = Data;
		datawp[Index] = pwm_high_level_time;
		Index++;
		if(Index>=32){
			receive_Flag=1;
			Index = ok = 0;
		}
	}
}

//void HAL_UART_RxCpltCallback(UART_HandleTypeDef *huart)
//{
//  /* Prevent unused argument(s) compilation warning */
//  //UNUSED(huart);
//  /* NOTE: This function should not be modified, when the callback is needed,
//           the HAL_UART_RxCpltCallback could be implemented in the user file
//   */
//	if(huart->Instance == USART1)
//	{
//
//		HAL_UART_Transmit(&huart1, rx_data, strlen(rx_data), 1000);
//		HAL_UART_Receive_IT(&huart1, rx_data, 4);
//	}
//	if(huart->Instance == USART3)
//	{
//		HAL_UART_Transmit(&huart1, rx_data, strlen(rx_data), 1000);
//		HAL_UART_Receive_IT(&huart3, rx_data, 1);
//	}
//}

/* USER CODE END 4 */

void Error_Handler(void)
{
  __disable_irq();
  while (1)
  {
  }
}
